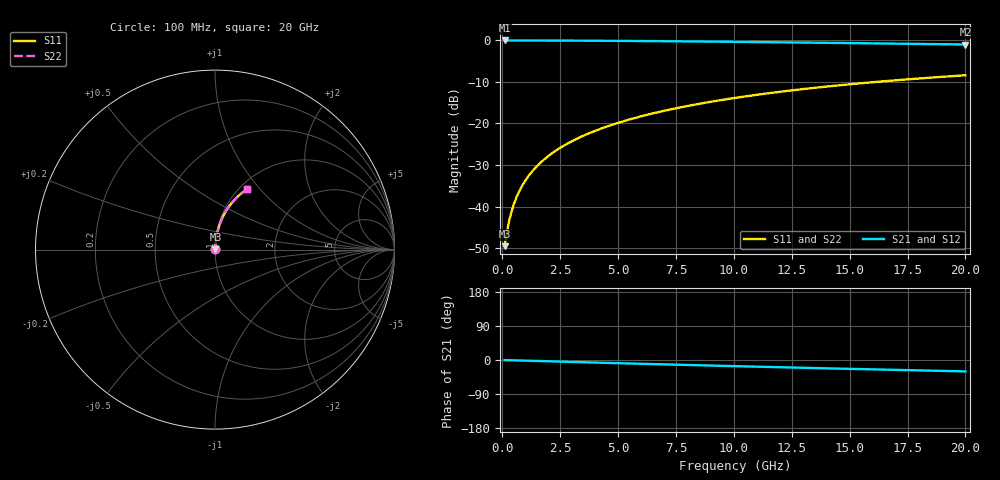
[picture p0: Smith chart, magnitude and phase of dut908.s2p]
! Touchstone file exported from HFSS 2024.1.0
!  File:  C:/UserFiles/LocalFiles/RDL_TSV_Batchsim/temp_RDL_top_908_1779935988.aedt
!  Generated:  10:43:09 AM May 28, 2026
!  Design:  RDL_top
!  Project:  temp_RDL_top_908_1779935988
!  Setup:  Setup1
!  Solution:  Sweep
! Variables:
!  dtsv = 10.80580581um
!  hbump = 3um
!  htsv = 68.27um
!  ldown = 100um
!  lrdl = 326.53um
!  p = 40
!  p1 = 59.72um
!  rhole = 1um
!  t = 450um
!  tdown = 3.915915916um
!  trdl = 3.6um
!  wdown = 15.38538539um
!  wrdl = 12.95um
# GHz S MA R 50.000000
! Terminal data exported
! Port[1] = Box2_T1
! Port[2] = Box2_T2
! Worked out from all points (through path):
!   200 points, 100 MHz to 20 GHz, reference 50 ohm
!   highest |S21| = -0.02 dB at 100 MHz (marker M1); lowest = -1.0 dB at 20 GHz (marker M2)
!   group delay of S21, straight-line fit = 4.17 ps
!   lowest |S11| = -49.5 dB at 100 MHz (marker M3), VSWR 1.01, Z = 50.3 + j0.21 ohm
!   |S11| at or under -10 dB: start of sweep to 16.13 GHz
!   |S22| runs from -49.5 to -8.4 dB; largest |S21 - S12| = 2.1e-15
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0.1  0.003343 38.8  0.9974 -0.2  0.9974 -0.2  0.003343 38.8
! Gamma 0 0 0 0
! Port Impedance 50 0 50 0
0.2  0.004947 57.6  0.9973 -0.3  0.9973 -0.3  0.004947 57.6
0.3  0.006806 66.4  0.9973 -0.5  0.9973 -0.5  0.006806 66.4
0.4  0.008743 71.3  0.9972 -0.7  0.9972 -0.7  0.008743 71.3
0.5  0.01071 74.4  0.9971 -0.9  0.9971 -0.9  0.01071 74.4
0.6  0.01269 76.5  0.997 -1.0  0.997 -1.0  0.01269 76.5
0.8  0.01667 79.1  0.9968 -1.4  0.9968 -1.4  0.01667 79.1
1.1  0.02267 81.2  0.9965 -1.9  0.9965 -1.9  0.02267 81.2
1.5  0.03071 82.6  0.996 -2.6  0.996 -2.6  0.03071 82.6
1.8  0.03677 83.1  0.9955 -3.1  0.9955 -3.1  0.03677 83.1
2.1  0.04283 83.4  0.9949 -3.6  0.9949 -3.6  0.04283 83.4
2.7  0.05499 83.5  0.9936 -4.6  0.9936 -4.6  0.05499 83.5
3.5  0.07124 83.2  0.9914 -5.9  0.9914 -5.9  0.07124 83.2
4.2  0.08547 82.6  0.9891 -7.1  0.9891 -7.1  0.08547 82.6
5  0.1017 81.9  0.986 -8.4  0.986 -8.4  0.1017 81.9
5.9  0.12 80.9  0.9822 -9.8  0.9822 -9.8  0.12 80.9
6.8  0.1383 79.8  0.978 -11.3  0.978 -11.3  0.1383 79.8
8.3  0.1685 77.9  0.9702 -13.6  0.9702 -13.6  0.1685 77.9
10.1  0.2041 75.5  0.9599 -16.3  0.9599 -16.3  0.2041 75.5
13.4  0.2671 71.0  0.9389 -21.1  0.9389 -21.1  0.2671 71.0
16.7  0.3261 66.5  0.9159 -25.7  0.9159 -25.7  0.3261 66.5
20  0.3803 62.1  0.8915 -30.1  0.8915 -30.1  0.3804 62.1
